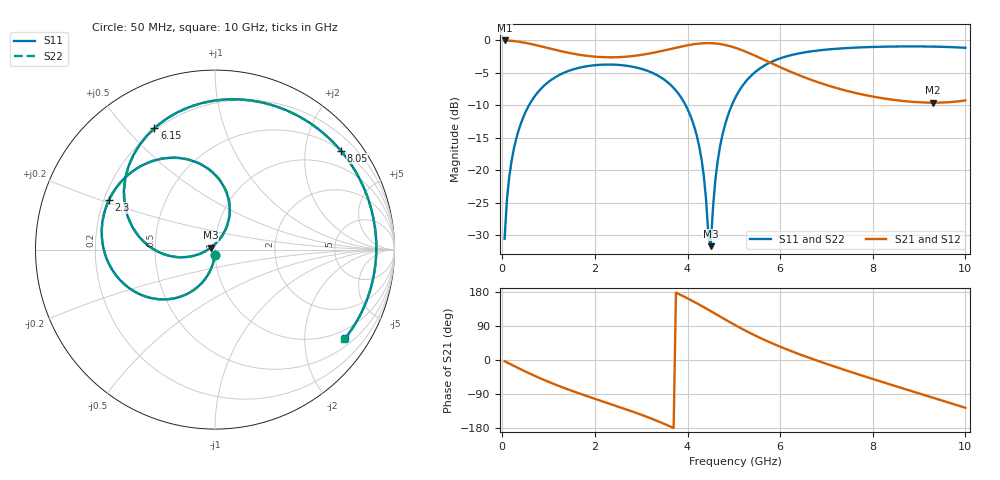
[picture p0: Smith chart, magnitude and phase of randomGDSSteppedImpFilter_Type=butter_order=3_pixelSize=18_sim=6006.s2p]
! freq	dB(S11)	phase(S11)	dB(S12)	phase(S12)
!  dB(S21)	phase(S21)	dB(S22)	phase(S22)
!S-par simulation data
#  GHz  S  DB  R 50
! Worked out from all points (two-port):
!   200 points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, 50 MHz to 10 GHz, reference 50 ohm
!   highest |S21| = 0.00 dB at 50 MHz (marker M1); lowest = -9.6 dB at 9.3 GHz (marker M2)
!   |S21| within 3 dB of the highest: start of sweep to 5.659 GHz
!   lowest |S11| = -31.7 dB at 4.5 GHz (marker M3), VSWR 1.05, Z = 47.7 + j1.04 ohm
!   |S11| at or under -10 dB: start of sweep to 576.5 MHz; 3.96 GHz to 4.955 GHz (994.6 MHz wide, 22.3 % of centre)
!   |S22| runs from -31.9 to -0.9 dB; largest |S21 - S12| = 0
!   S11 on the Smith chart (normalised r, x): 50 MHz: 1.00, -0.06; 2.3 GHz: 0.22, +0.21; 6.15 GHz: 0.19, +0.60; 8.05 GHz: 0.52, +2.80; 10 GHz: 0.72, -3.08
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0.05  -30.53 -93.1  -0.00 -3.1  -0.00 -3.1  -30.53 -93.1
0.1  -24.53 -96.3  -0.02 -6.2  -0.02 -6.2  -24.53 -96.3
0.2  -18.58 -102.5  -0.06 -12.4  -0.06 -12.4  -18.58 -102.5
0.5  -11.06 -120.7  -0.37 -30.5  -0.37 -30.5  -11.06 -120.7
1.05  -6.11 -150.6  -1.29 -60.2  -1.29 -60.2  -6.11 -150.6
1.75  -4.07 177.6  -2.30 -92.0  -2.30 -92.0  -4.07 177.5
2.3  -3.71 155.0  -2.60 -114.7  -2.60 -114.7  -3.71 154.8
3.4  -5.58 107.1  -1.69 -163.5  -1.69 -163.5  -5.58 106.9
4.15  -13.39 67.8  -0.57 153.1  -0.57 153.1  -13.39 67.4
4.35  -20.78 62.8  -0.43 139.6  -0.43 139.6  -20.79 62.1
4.45  -29.98 88.0  -0.41 132.6  -0.41 132.6  -30.11 86.8
4.5  -31.68 155.3  -0.42 129.1  -0.42 129.1  -31.89 155.7
4.6  -21.53 -164.7  -0.46 122.0  -0.46 122.0  -21.55 -164.5
4.7  -16.42 -164.6  -0.55 114.9  -0.55 114.9  -16.43 -164.6
5.05  -8.57 176.6  -1.18 90.6  -1.18 90.6  -8.57 176.4
5.55  -4.38 147.2  -2.65 59.3  -2.65 59.3  -4.38 146.9
6.15  -2.43 116.5  -4.59 27.7  -4.59 27.7  -2.43 116.2
6.7  -1.65 91.9  -6.15 2.6  -6.15 2.6  -1.65 91.6
8.05  -1.00 38.2  -8.71 -52.0  -8.71 -52.0  -0.99 37.8
8.35  -0.95 26.9  -9.06 -63.6  -9.06 -63.6  -0.95 26.5
9.3  -0.95 -8.4  -9.58 -99.4  -9.58 -99.4  -0.95 -8.8
10  -1.14 -34.4  -9.23 -126.1  -9.23 -126.1  -1.14 -34.7
